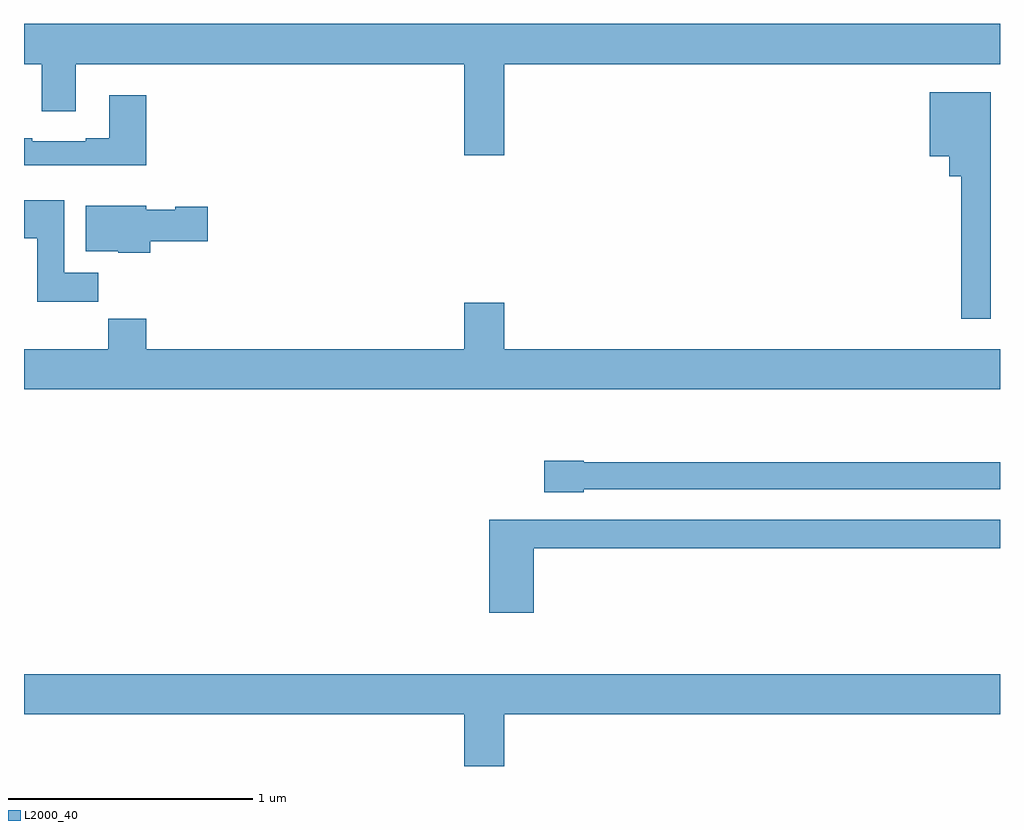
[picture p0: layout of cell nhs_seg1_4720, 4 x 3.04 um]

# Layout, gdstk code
import gdstk
lib = gdstk.Library(unit=1e-6, precision=1e-09)
def P(c, l, *ps):  # polygons
    for p in ps: c.add(gdstk.Polygon(p, *l))
L2000_40 = (2000, 40)

nhs_seg1_4720 = lib.new_cell('nhs_seg1_4720')
P(nhs_seg1_4720, L2000_40, [(368.968,541.076),(371,541.076),(371,541.24),(367,541.24),(367,541.076),(367.073,541.076),(367.073,540.882),(367.213,540.882),(367.213,541.076),(368.804,541.076),(368.804,540.702),(368.968,540.702)],
  [(370.963,540.961),(370.712,540.961),(370.712,540.698),(370.793,540.698),(370.793,540.617),(370.842,540.617),(370.842,540.033),(370.963,540.033)],
  [(367.502,540.949),(367.349,540.949),(367.349,540.772),(367.253,540.772),(367.253,540.759),(367.033,540.759),(367.033,540.772),(367,540.772),(367,540.662),(367.502,540.662)],
  [(367.304,540.22),(367.165,540.22),(367.165,540.517),(367,540.517),(367,540.361),(367.055,540.361),(367.055,540.102),(367.304,540.102)],
  [(367.517,540.349),(367.753,540.349),(367.753,540.491),(367.62,540.491),(367.62,540.478),(367.5,540.478),(367.5,540.496),(367.253,540.496),(367.253,540.308),(367.386,540.308),(367.386,540.302),(367.517,540.302)],
  [(371,539.908),(368.968,539.908),(368.968,540.097),(368.804,540.097),(368.804,539.908),(367.502,539.908),(367.502,540.032),(367.345,540.032),(367.345,539.908),(367,539.908),(367,539.744),(371,539.744)],
  [(369.294,539.334),(371,539.334),(371,539.443),(369.294,539.443),(369.294,539.451),(369.132,539.451),(369.132,539.321),(369.294,539.321)],
  [(369.089,539.092),(371,539.092),(371,539.208),(368.906,539.208),(368.906,538.827),(369.089,538.827)],
  [(368.968,538.412),(371,538.412),(371,538.576),(367,538.576),(367,538.412),(368.804,538.412),(368.804,538.199),(368.968,538.199)])

lib.write_gds('nhs_seg1_4720.gds')
